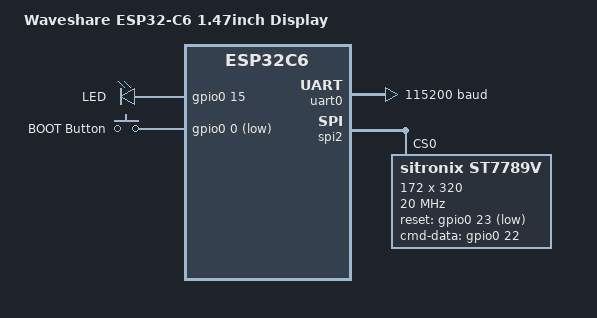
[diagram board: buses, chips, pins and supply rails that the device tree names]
/*
 * Waveshare ESP32-C6 1.47" Display Development Board
 * Custom board definition
 */

/dts-v1/;

#include <espressif/esp32c6/esp32c6_wroom_n4.dtsi>
#include "waveshare_esp32c6_147-pinctrl.dtsi"

/ {
	model = "Waveshare ESP32-C6 1.47inch Display";
	compatible = "waveshare,esp32c6-147";

	chosen {
		zephyr,sram = &sram0;
		zephyr,console = &uart0;
		zephyr,shell-uart = &uart0;
		zephyr,flash = &flash0;
		zephyr,code-partition = &slot0_partition;
	};

	aliases {
		led0 = &led0;
		sw0 = &button0;
	};

	leds {
		compatible = "gpio-leds";
		led0: led_0 {
			gpios = <&gpio0 15 GPIO_ACTIVE_HIGH>;
			label = "LED";
		};
	};

	buttons {
		compatible = "gpio-keys";
		button0: button_0 {
			gpios = <&gpio0 0 (GPIO_PULL_UP | GPIO_ACTIVE_LOW)>;
			label = "BOOT Button";
		};
	};
};

&uart0 {
	status = "okay";
	current-speed = <115200>;
	pinctrl-0 = <&uart0_default>;
	pinctrl-names = "default";
};

&spi2 {
	status = "okay";
	pinctrl-0 = <&spim2_default>;
	pinctrl-names = "default";
	
	st7789v@0 {
		compatible = "sitronix,st7789v";
		reg = <0>;
		spi-max-frequency = <20000000>;
		reset-gpios = <&gpio0 23 GPIO_ACTIVE_LOW>;
		cmd-data-gpios = <&gpio0 22 GPIO_ACTIVE_HIGH>;
		width = <172>;
		height = <320>;
	};
};

&flash0 {
	partitions {
		compatible = "fixed-partitions";
		#address-cells = <1>;
		#size-cells = <1>;

		boot_partition: partition@0 {
			label = "mcuboot";
			reg = <0x00000000 0x10000>;
			read-only;
		};

		slot0_partition: partition@10000 {
			label = "image-0";
			reg = <0x00010000 0x1F0000>;
		};
	};
};
